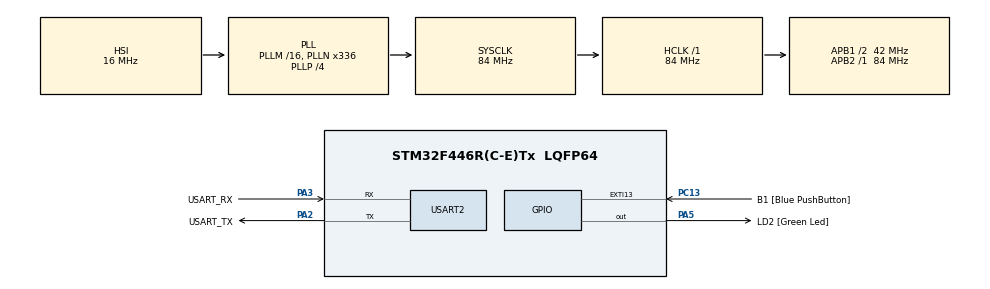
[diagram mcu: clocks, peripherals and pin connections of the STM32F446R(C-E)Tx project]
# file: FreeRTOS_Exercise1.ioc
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Mcu.Family=STM32F4
Mcu.Name=STM32F446R(C-E)Tx
Mcu.Package=LQFP64
NVIC.PriorityGroup=NVIC_PRIORITYGROUP_4
NVIC.TIM6_DAC_IRQn=true\:15\:0\:false\:false\:true\:false\:true\:true
NVIC.TimeBase=TIM6_DAC_IRQn
NVIC.TimeBaseIP=TIM6
PA13.GPIO_Label=TMS
PA13.Mode=Serial_Wire
PA13.Signal=SYS_JTMS-SWDIO
PA14.GPIO_Label=TCK
PA14.Mode=Serial_Wire
PA14.Signal=SYS_JTCK-SWCLK
PA2.GPIO_Label=USART_TX
PA2.Mode=Asynchronous
PA2.Signal=USART2_TX
PA3.GPIO_Label=USART_RX
PA3.Mode=Asynchronous
PA3.Signal=USART2_RX
PA5.GPIO_Label=LD2 [Green Led]
PA5.Signal=GPIO_Output
PB3.GPIO_Label=SWO
PB3.Signal=SYS_JTDO-SWO
PC13.GPIO_Label=B1 [Blue PushButton]
PC13.GPIO_ModeDefaultEXTI=GPIO_MODE_IT_FALLING
PC13.Signal=GPXTI13
PC14-OSC32_IN.Mode=LSE-External-Oscillator
PC14-OSC32_IN.Signal=RCC_OSC32_IN
PC15-OSC32_OUT.Mode=LSE-External-Oscillator
PC15-OSC32_OUT.Signal=RCC_OSC32_OUT
PH0-OSC_IN.Mode=HSE-External-Oscillator
PH0-OSC_IN.Signal=RCC_OSC_IN
PH1-OSC_OUT.Mode=HSE-External-Oscillator
PH1-OSC_OUT.Signal=RCC_OSC_OUT
ProjectManager.HeapSize=0x200
ProjectManager.StackSize=0x400
ProjectManager.TargetToolchain=STM32CubeIDE
RCC.48MHZClocksFreq_Value=84000000
RCC.AHBFreq_Value=84000000
RCC.APB1CLKDivider=RCC_HCLK_DIV2
RCC.APB1Freq_Value=42000000
RCC.APB1TimFreq_Value=84000000
RCC.APB2Freq_Value=84000000
RCC.APB2TimFreq_Value=84000000
RCC.CortexFreq_Value=84000000
RCC.FLatency-AdvancedSettings=FLASH_LATENCY_2
RCC.HCLKFreq_Value=84000000
RCC.HSE_VALUE=8000000
RCC.HSI_VALUE=16000000
RCC.PLLN=336
RCC.PLLP=RCC_PLLP_DIV4
RCC.SYSCLKFreq_VALUE=84000000
RCC.SYSCLKSource=RCC_SYSCLKSOURCE_PLLCLK
RCC.USBFreq_Value=168000000
RCC.VCOOutputFreq_Value=336000000
USART2.VirtualMode=VM_ASYNC
VP_SYS_VS_tim6.Mode=TIM6
board=NUCLEO-F446RE

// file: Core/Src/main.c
/* USER CODE BEGIN Header */
/**
 ******************************************************************************
 * @file           : main.c
 * @brief          : Main program body
 ******************************************************************************
 * @attention
 *
 * Copyright (c) 2024 STMicroelectronics.
 * All rights reserved.
 *
 * This software is licensed under terms that can be found in the LICENSE file
 * in the root directory of this software component.
 * If no LICENSE file comes with this software, it is provided AS-IS.
 *
 ******************************************************************************
 */
/* USER CODE END Header */
#include "main.h"

/* USER CODE BEGIN Includes */
#include "FreeRTOS.h"
#include "task.h"
#include <stdio.h>

/* USER CODE END Includes */

/* USER CODE BEGIN PD */
#define DWT_CTRL *((volatile uint32_t*)0xE0001000)
/* USER CODE END PD */

UART_HandleTypeDef huart2;

void SystemClock_Config(void);
static void MX_GPIO_Init(void);
static void MX_USART2_UART_Init(void);
/* USER CODE BEGIN PFP */
void Task1Handler(void* Parameters);
void Task2Handler(void* Parameters);
/* USER CODE END PFP */

int main(void)
{
	/* USER CODE BEGIN 1 */
	TaskHandle_t Task1Handle, Task2Handle;
	BaseType_t Local_Status;
	/* USER CODE END 1 */

	/* MCU Configuration--------------------------------------------------------*/

	/* Reset of all peripherals, Initializes the Flash interface and the Systick. */
	HAL_Init();

	/* Configure the system clock */
	SystemClock_Config();

	/* Initialize all configured peripherals */
	MX_GPIO_Init();
	MX_USART2_UART_Init();
	/* USER CODE BEGIN 2 */

	/*Enable Cycle counter feature of the process*/
	DWT_CTRL |= 1;

	/*Configure sysview target source file and start recording*/
	SEGGER_SYSVIEW_Conf();
	SEGGER_SYSVIEW_Start();

	Local_Status = xTaskCreate(Task1Handler, "Task-1", 100, "Hello World from Task 1", 2, &Task1Handle);

	configASSERT(Local_Status == pdPASS);

	Local_Status = xTaskCreate(Task2Handler, "Task-2", 100, "Hello World from Task 2", 2, &Task2Handle);

	configASSERT(Local_Status == pdPASS);

	vTaskStartScheduler();
	/* USER CODE END 2 */

	/* Infinite loop */
	while (1)
	{

	}
}

void SystemClock_Config(void)
{
	RCC_OscInitTypeDef RCC_OscInitStruct = {0};
	RCC_ClkInitTypeDef RCC_ClkInitStruct = {0};

	/** Configure the main internal regulator output voltage
	 */
	__HAL_RCC_PWR_CLK_ENABLE();
	__HAL_PWR_VOLTAGESCALING_CONFIG(PWR_REGULATOR_VOLTAGE_SCALE3);

	/** Initializes the RCC Oscillators according to the specified parameters
	 * in the RCC_OscInitTypeDef structure.
	 */
	RCC_OscInitStruct.OscillatorType = RCC_OSCILLATORTYPE_HSI;
	RCC_OscInitStruct.HSIState = RCC_HSI_ON;
	RCC_OscInitStruct.HSICalibrationValue = RCC_HSICALIBRATION_DEFAULT;
	RCC_OscInitStruct.PLL.PLLState = RCC_PLL_ON;
	RCC_OscInitStruct.PLL.PLLSource = RCC_PLLSOURCE_HSI;
	RCC_OscInitStruct.PLL.PLLM = 16;
	RCC_OscInitStruct.PLL.PLLN = 336;
	RCC_OscInitStruct.PLL.PLLP = RCC_PLLP_DIV4;
	RCC_OscInitStruct.PLL.PLLQ = 2;
	RCC_OscInitStruct.PLL.PLLR = 2;
	if (HAL_RCC_OscConfig(&RCC_OscInitStruct) != HAL_OK)
	{
		Error_Handler();
	}

	/** Initializes the CPU, AHB and APB buses clocks
	 */
	RCC_ClkInitStruct.ClockType = RCC_CLOCKTYPE_HCLK|RCC_CLOCKTYPE_SYSCLK
			|RCC_CLOCKTYPE_PCLK1|RCC_CLOCKTYPE_PCLK2;
	RCC_ClkInitStruct.SYSCLKSource = RCC_SYSCLKSOURCE_PLLCLK;
	RCC_ClkInitStruct.AHBCLKDivider = RCC_SYSCLK_DIV1;
	RCC_ClkInitStruct.APB1CLKDivider = RCC_HCLK_DIV2;
	RCC_ClkInitStruct.APB2CLKDivider = RCC_HCLK_DIV1;

	if (HAL_RCC_ClockConfig(&RCC_ClkInitStruct, FLASH_LATENCY_2) != HAL_OK)
	{
		Error_Handler();
	}
}

static void MX_USART2_UART_Init(void)
{

	huart2.Instance = USART2;
	huart2.Init.BaudRate = 115200;
	huart2.Init.WordLength = UART_WORDLENGTH_8B;
	huart2.Init.StopBits = UART_STOPBITS_1;
	huart2.Init.Parity = UART_PARITY_NONE;
	huart2.Init.Mode = UART_MODE_TX_RX;
	huart2.Init.HwFlowCtl = UART_HWCONTROL_NONE;
	huart2.Init.OverSampling = UART_OVERSAMPLING_16;
	if (HAL_UART_Init(&huart2) != HAL_OK)
	{
		Error_Handler();
	}

}

static void MX_GPIO_Init(void)
{
	GPIO_InitTypeDef GPIO_InitStruct = {0};

	/* GPIO Ports Clock Enable */
	__HAL_RCC_GPIOC_CLK_ENABLE();
	__HAL_RCC_GPIOH_CLK_ENABLE();
	__HAL_RCC_GPIOA_CLK_ENABLE();
	__HAL_RCC_GPIOB_CLK_ENABLE();

	/*Configure GPIO pin Output Level */
	HAL_GPIO_WritePin(LD2_GPIO_Port, LD2_Pin, GPIO_PIN_RESET);

	/*Configure GPIO pin : B1_Pin */
	GPIO_InitStruct.Pin = B1_Pin;
	GPIO_InitStruct.Mode = GPIO_MODE_IT_FALLING;
	GPIO_InitStruct.Pull = GPIO_NOPULL;
	HAL_GPIO_Init(B1_GPIO_Port, &GPIO_InitStruct);

	/*Configure GPIO pin : LD2_Pin */
	GPIO_InitStruct.Pin = LD2_Pin;
	GPIO_InitStruct.Mode = GPIO_MODE_OUTPUT_PP;
	GPIO_InitStruct.Pull = GPIO_NOPULL;
	GPIO_InitStruct.Speed = GPIO_SPEED_FREQ_LOW;
	HAL_GPIO_Init(LD2_GPIO_Port, &GPIO_InitStruct);

}

/* USER CODE BEGIN 4 */
void Task1Handler(void* Parameters)
{

	while(1)
	{
		printf("%s\n",(char*)Parameters);
		//taskYIELD();
	}
}
void Task2Handler(void* Parameters)
{

	while(1)
	{
		printf("%s\n",(char*)Parameters);
		//taskYIELD();
	}
}
/* USER CODE END 4 */

void HAL_TIM_PeriodElapsedCallback(TIM_HandleTypeDef *htim)
{
	if (htim->Instance == TIM6) {
		HAL_IncTick();
	}
}

void Error_Handler(void)
{
	__disable_irq();
	while (1)
	{
	}
}
